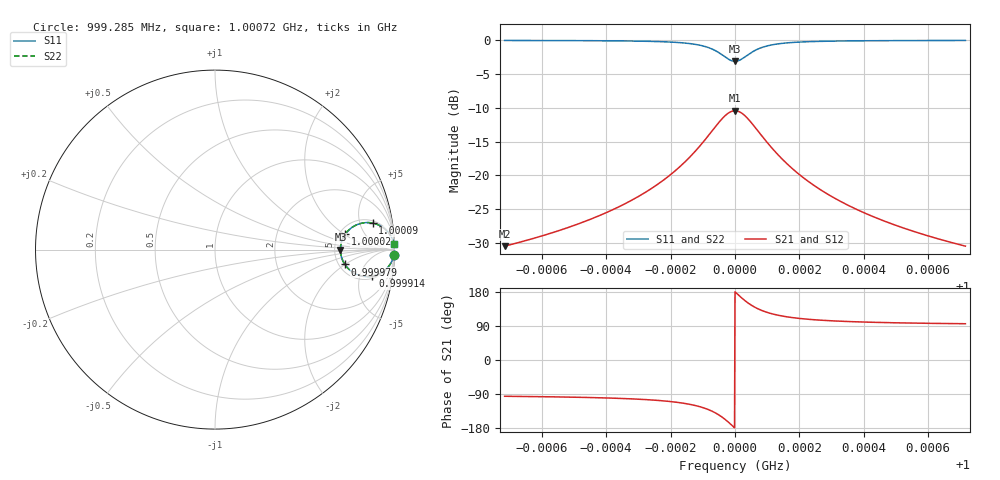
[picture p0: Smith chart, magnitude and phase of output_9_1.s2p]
! File generated for n1 = 9, n2 = 1
! b1 = 0.215443
! b2 = 0.215443
! Q0 = 10000.000000
! f0 = 1000000000.000000
! n = 1001
! rel_span = 10.000000
# Hz S RI R 50
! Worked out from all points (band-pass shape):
!   1001 points, 999.285 MHz to 1.00072 GHz, reference 50 ohm
!   highest |S21| = -10.42 dB at 1 GHz (marker M1); lowest = -30.5 dB at 999.285 MHz (marker M2)
!   |S21| within 3 dB of the highest: 999.9286 MHz to 1.000071 GHz (142.7 kHz wide, 0.0143 % of centre)
!   lowest |S11| = -3.1 dB at 1 GHz (marker M3), VSWR 5.64, Z = 282 + j0 ohm
!   |S11| at or under -10 dB: nowhere
!   |S22| runs from -3.1 to 0.0 dB; largest |S21 - S12| = 0
!   S11 on the Smith chart (normalised r, x): 999.285 MHz: 6, -66; 999.914 MHz: 5.64, -7.97; 999.979 MHz: 5.64, -1.99; 1.00002 GHz: 5.64, +2.13; 1.00009 GHz: 5.64, +8.10; 1.00072 GHz: 6, +66
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9.992846e8  0.997 -0.0298  -0.00298 -0.0298  -0.00298 -0.0298  0.997 -0.0298
9.994076e8  0.9957 -0.0358  -0.00433 -0.0358  -0.00433 -0.0358  0.9957 -0.0358
9.995235e8  0.9934 -0.0442  -0.00664 -0.0442  -0.00664 -0.0442  0.9934 -0.0442
9.996552e8  0.9876 -0.0599  -0.0124 -0.0599  -0.0124 -0.0599  0.9876 -0.0599
9.997625e8  0.975 -0.0831  -0.025 -0.0831  -0.025 -0.0831  0.975 -0.0831
9.998097e8  0.9627 -0.0992  -0.0373 -0.0992  -0.0373 -0.0992  0.9627 -0.0992
9.99854e8  0.9417 -0.119  -0.0583 -0.119  -0.0583 -0.119  0.9417 -0.119
9.999141e8  0.8766 -0.1481  -0.1234 -0.1481  -0.1234 -0.1481  0.8766 -0.1481
9.999499e8  0.7979 -0.1415  -0.2021 -0.1415  -0.2021 -0.1415  0.7979 -0.1415
9.999642e8  0.7591 -0.1205  -0.2409 -0.1205  -0.2409 -0.1205  0.7591 -0.1205
9.999785e8  0.7237 -0.0829  -0.2763 -0.0829  -0.2763 -0.0829  0.7237 -0.0829
1e9  0.6989 0  -0.3011 0  -0.3011 0  0.6989 0
1.000023e9  0.7268 0.0874  -0.2732 0.0874  -0.2732 0.0874  0.7268 0.0874
1.00005e9  0.7979 0.1415  -0.2021 0.1415  -0.2021 0.1415  0.7979 0.1415
1.000087e9  0.879 0.1476  -0.121 0.1476  -0.121 0.1476  0.879 0.1476
1.000119e9  0.9198 0.1331  -0.0802 0.1331  -0.0802 0.1331  0.9198 0.1331
1.000159e9  0.9492 0.1128  -0.0508 0.1128  -0.0508 0.1128  0.9492 0.1128
1.000239e9  0.9752 0.0828  -0.0248 0.0828  -0.0248 0.0828  0.9752 0.0828
1.000346e9  0.9877 0.0597  -0.0123 0.0597  -0.0123 0.0597  0.9877 0.0597
1.000478e9  0.9934 0.0441  -0.0066 0.0441  -0.0066 0.0441  0.9934 0.0441
1.000594e9  0.9957 0.0358  -0.00431 0.0358  -0.00431 0.0358  0.9957 0.0358
1.000715e9  0.997 0.0298  -0.00298 0.0298  -0.00298 0.0298  0.997 0.0298
